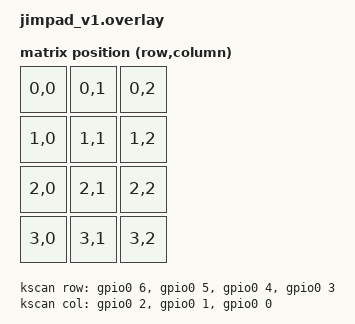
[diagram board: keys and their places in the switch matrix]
/ {
    chosen {
        zmk,physical-layout = &default_layout;
    };

    kscan: kscan {
        compatible = "zmk,kscan-gpio-matrix";
        diode-direction = "col2row";
        wakeup-source;

        col-gpios
            = <&gpio0 2 GPIO_ACTIVE_HIGH>
            , <&gpio0 1 GPIO_ACTIVE_HIGH>
            , <&gpio0 0 GPIO_ACTIVE_HIGH>
            ;

        row-gpios
            = <&gpio0 6 (GPIO_ACTIVE_HIGH | GPIO_PULL_DOWN)>
            , <&gpio0 5 (GPIO_ACTIVE_HIGH | GPIO_PULL_DOWN)>
            , <&gpio0 4 (GPIO_ACTIVE_HIGH | GPIO_PULL_DOWN)>
            , <&gpio0 3 (GPIO_ACTIVE_HIGH | GPIO_PULL_DOWN)>
            ;
    };

    default_transform: default_transform {
        compatible = "zmk,matrix-transform";
        columns = <3>;
        rows = <4>;

        map = <
            RC(0, 0) RC(0, 1) RC(0, 2)
            RC(1, 0) RC(1, 1) RC(1, 2)
            RC(2, 0) RC(2, 1) RC(2, 2)
            RC(3, 0) RC(3, 1) RC(3, 2)
        >;
    };
};
